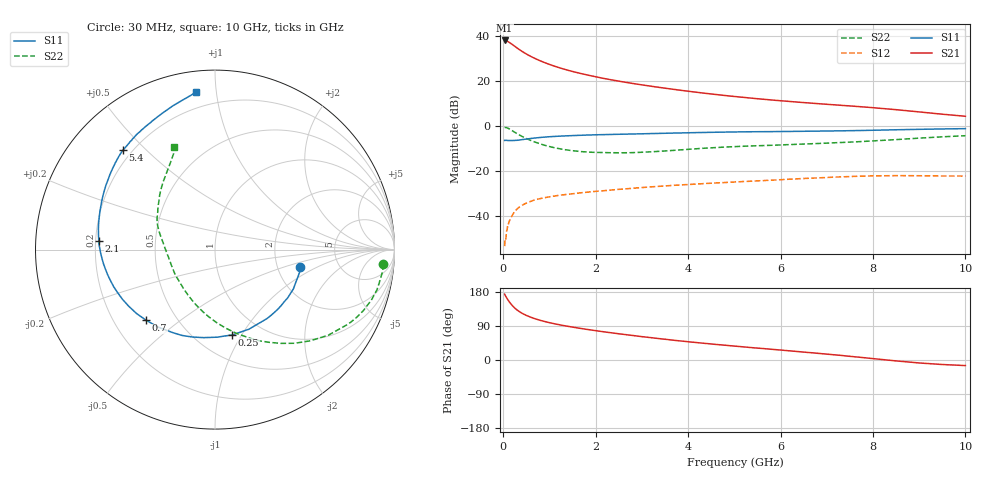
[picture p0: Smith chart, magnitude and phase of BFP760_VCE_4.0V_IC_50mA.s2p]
! Infineon Technologies  Discrete & RF Semiconductors
! BFP760
! VCE =  4.0 V,  IC =  50 mA
! Common Emitter S-Parameters:  Nov 2012
# GHz  S  MA  R  50
!  f  S11  S21  S12  S22
! GHz  MAG  ANG  MAG  ANG  MAG  ANG  MAG  ANG
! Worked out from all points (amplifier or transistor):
!   99 points, 30 MHz to 10 GHz, reference 50 ohm
!   highest |S21| = 38.0 dB at 30 MHz (marker M1)
!   |S21| within 3 dB of that: start of sweep to 277.5 MHz
!   unconditionally stable (mu >= 1): 3.721 GHz to end of sweep
!   at 350 MHz: K = 0.39, MSG = 34.9 dB, |S12| = -35.8 dB
!   at 3.5 GHz: K = 0.98, MSG = 21.7 dB, |S12| = -26.4 dB
!   at 10 GHz: K = 1.04, MAG = 12.0 dB, |S12| = -22.1 dB
!   S11 on the Smith chart (normalised r, x): 30 MHz: 2.70, -0.67; 250 MHz: 0.73, -0.91; 700 MHz: 0.34, -0.38; 2.1 GHz: 0.21, +0.04; 5.4 GHz: 0.17, +0.43; 10 GHz: 0.11, +0.88
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0.03  0.4854 -11.2  79.51 173.7  0.0022 78.1  0.9401 -5.0
0.07  0.4886 -26.5  77.95 164.9  0.0047 75.3  0.9296 -14.0
0.1  0.4828 -37.1  75.21 159.1  0.0067 69.7  0.9031 -20.2
0.13  0.4816 -47.0  72.08 153.8  0.0079 70.0  0.8732 -25.8
0.15  0.4811 -53.2  69.96 150.5  0.0087 69.4  0.8497 -29.3
0.2  0.4821 -67.0  64.3 143.2  0.0108 64.2  0.7909 -37.1
0.25  0.4849 -78.6  59.05 137.0  0.0132 61.5  0.7346 -43.8
0.3  0.4881 -88.7  54.14 131.9  0.0146 58.7  0.6853 -49.6
0.35  0.4946 -97.4  49.8 127.6  0.0162 56.7  0.6393 -54.8
0.45  0.5122 -111.0  42.79 120.6  0.0187 52.9  0.5662 -63.9
0.6  0.536 -126.5  35.1 112.7  0.0218 48.3  0.4828 -75.5
0.7  0.55 -134.4  31.28 108.4  0.0236 46.3  0.4408 -82.4
0.9  0.5749 -146.7  25.59 101.5  0.0261 43.1  0.3778 -94.9
1.1  0.5932 -156.2  21.57 95.8  0.0283 41.3  0.3351 -105.9
1.7  0.6311 -175.3  14.56 82.9  0.0337 39.2  0.2731 -132.4
2.1  0.6495 175.7  11.87 75.7  0.0367 38.5  0.2621 -146.7
3.4  0.6943 153.6  7.196 56.1  0.0468 36.8  0.2792 178.2
5.1  0.7491 134.9  4.458 35.7  0.0587 32.9  0.3567 154.6
5.4  0.7549 132.7  4.163 32.4  0.0609 32.1  0.3668 151.7
6.7  0.7774 123.6  3.227 18.9  0.0709 27.6  0.4103 139.8
8.5  0.8349 106.3  2.327 -2.4  0.0804 16.1  0.5054 122.3
10  0.8841 96.9  1.661 -14.7  0.0787 10.8  0.6162 111.6
